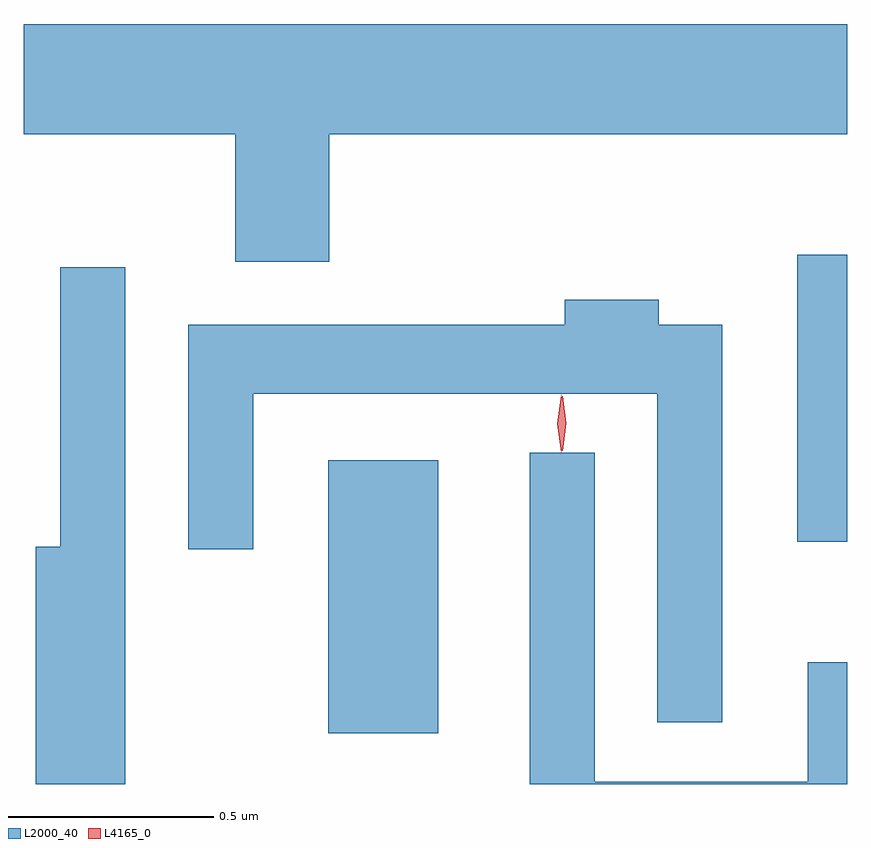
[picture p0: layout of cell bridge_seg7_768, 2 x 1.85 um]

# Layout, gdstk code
import gdstk
lib = gdstk.Library(unit=1e-6, precision=1e-09)
def R(c, l, rs):  # rectangles x0, y0, x1, y1
    for r in rs: c.add(gdstk.rectangle(r[:2], r[2:], *l))
def P(c, l, *ps):  # polygons
    for p in ps: c.add(gdstk.Polygon(p, *l))
L2000_40 = (2000, 40)
L4165_0 = (4165, 0)

bridge_seg7_768 = lib.new_cell('bridge_seg7_768')
R(bridge_seg7_768, L2000_40, [(591.556,1737.281,591.824,1737.944), (592.696,1737.746,592.817,1738.444)])
P(bridge_seg7_768, L2000_40, [(591.559,1738.736),(592.817,1738.736),(592.817,1739.004),(590.817,1739.004),(590.817,1738.736),(591.331,1738.736),(591.331,1738.426),(591.559,1738.426)],
  [(591.064,1738.413),(590.906,1738.413),(590.906,1737.734),(590.846,1737.734),(590.846,1737.158),(591.064,1737.158)],
  [(592.514,1738.274),(592.359,1738.274),(592.359,1738.334),(592.131,1738.334),(592.131,1738.274),(591.216,1738.274),(591.216,1737.728),(591.374,1737.728),(591.374,1738.106),(592.356,1738.106),(592.356,1737.308),(592.514,1737.308)],
  [(592.817,1737.454),(592.721,1737.454),(592.721,1737.164),(592.204,1737.164),(592.204,1737.963),(592.046,1737.963),(592.046,1737.158),(592.817,1737.158)])
P(bridge_seg7_768, L4165_0, [(592.123,1737.963),(592.122,1737.964),(592.113,1738.033),(592.122,1738.102),(592.123,1738.103),(592.123,1738.102),(592.133,1738.033),(592.123,1737.964)],
  [(592.125,1737.967),(592.125,1737.967),(592.115,1738.034),(592.125,1738.1),(592.125,1738.1),(592.126,1738.1),(592.135,1738.034),(592.126,1737.967)])

lib.write_gds('bridge_seg7_768.gds')
